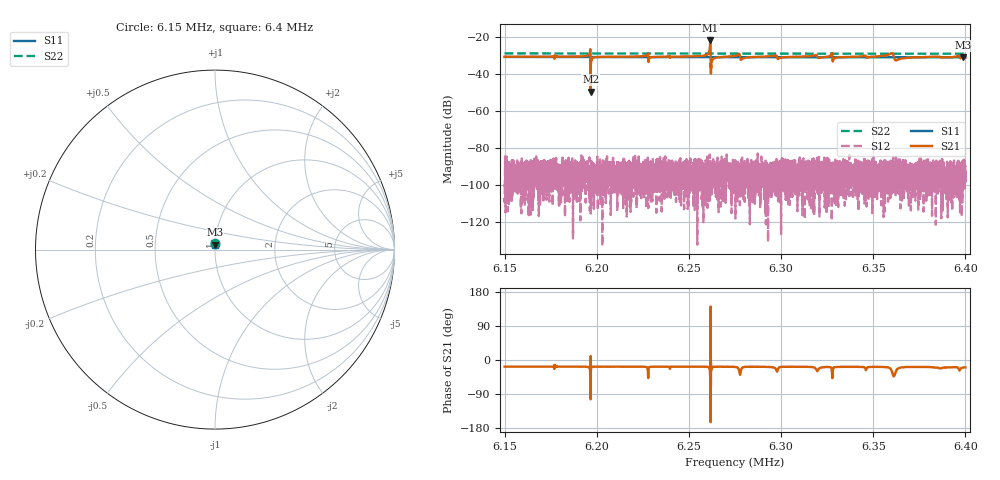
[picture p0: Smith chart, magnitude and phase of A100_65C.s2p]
!CETC41,AV3656A,ZGL00048,1.3.2
!Calibration ON (Full Solt 2-Port(Omit Isolation))
!Measurements: S11 S21 S12 S22
!2025-04-18 03:31
# Hz  S  dB  R 50.000
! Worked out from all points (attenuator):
!   6401 points, 6.15 MHz to 6.4 MHz, reference 50 ohm
!   highest |S21| = -21.84 dB at 6.2616 MHz (marker M1); lowest = -49.5 dB at 6.1967 MHz (marker M2)
!   lowest |S11| = -31.0 dB at 6.3986 MHz (marker M3), VSWR 1.06, Z = 49.9 + j2.81 ohm
!   |S11| at or under -10 dB: start of sweep to end of sweep
!   |S22| runs from -29.0 to -28.9 dB; largest |S21 - S12| = 0.081
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6150000  -30.78 85.3  -30.68 -17.6  -106.99 111.4  -28.87 91.0
6191680  -30.82 86.2  -30.49 -17.7  -102.14 -34.8  -28.89 91.8
6195352  -30.83 86.3  -29.97 -17.9  -91.28 97.8  -28.89 91.8
6196680  -30.83 86.3  -49.50 -93.1  -95.43 -169.5  -28.89 91.9
6197891  -30.82 86.4  -31.22 -17.7  -90.81 41.4  -28.90 91.8
6233359  -30.86 87.1  -30.70 -17.8  -94.84 -106.9  -28.92 92.5
6256953  -30.87 87.7  -30.22 -17.8  -87.27 116.7  -28.93 93.0
6260508  -30.88 87.7  -29.04 -18.4  -89.27 155.1  -28.94 93.1
6261641  -30.89 87.8  -21.84 -82.8  -86.35 46.3  -28.94 93.1
6263047  -30.89 87.8  -31.92 -18.3  -96.72 138.6  -28.94 93.1
6265078  -30.88 87.9  -31.08 -17.9  -92.33 9.7  -28.94 93.1
6275000  -30.90 88.0  -30.23 -18.3  -89.45 2.1  -28.95 93.3
6279063  -30.89 88.2  -31.74 -20.0  -95.41 -161.5  -28.95 93.4
6316680  -30.94 89.0  -30.25 -18.6  -87.51 81.1  -28.98 94.0
6326563  -30.95 89.2  -30.23 -18.7  -89.13 93.1  -28.98 94.2
6329102  -30.95 89.3  -31.42 -18.9  -93.16 153.2  -28.99 94.2
6358359  -30.97 90.0  -29.55 -20.0  -91.09 80.9  -29.02 94.7
6360000  -30.98 89.9  -28.70 -28.8  -94.89 121.5  -29.01 94.7
6362813  -30.99 90.1  -32.50 -25.6  -96.13 36.0  -29.00 94.8
6381758  -31.00 90.4  -30.64 -19.0  -93.88 36.3  -29.01 95.1
6398633  -31.02 90.8  -31.20 -19.9  -90.00 -171.5  -29.03 95.4
6400000  -31.01 90.9  -31.08 -19.4  -92.50 6.3  -29.03 95.4
